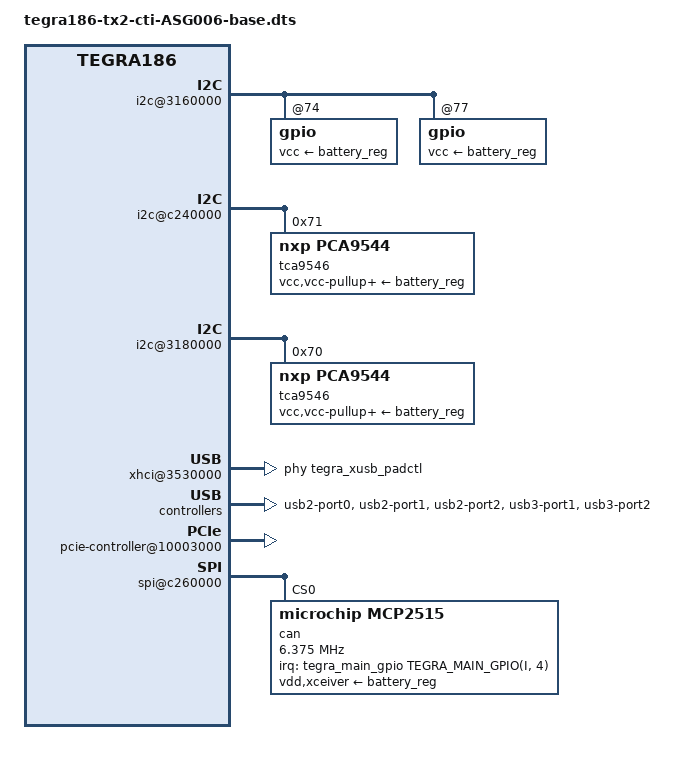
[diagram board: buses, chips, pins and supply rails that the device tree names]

/* Base DTS file common for all varioations of  spacely (no cameras) */

#include "tegra186-tx2-cti-base.dts"


/*************************************************************************

    DO NOT COPY THIS FILE TO ADD CAMERAS, INCLUDE IT IN THE NEW FILE!!!

*************************************************************************/
/{
    nvidia,dtsfilename = "tegra186-tx2-cti-ASG006-base.dts";
    nvidia,dtbbuildtime = __DATE__, __TIME__;

    gpio@2200000 {
    /*enable this to enabled PCIe Controller #2*/
        pcie0_lane2_mux {
             status = "okay";
        };
    /******************************************/
    /*enable these two to enable USB3 Port 0*/
        e3325_sdio_rst {
            status = "disabled";
        };
        e3325_lane0_mux {
            status = "disabled";
        };
    /******************************************/

    };

    i2c@3160000 {
        gpio@74{    //Camera GPIO
            status = "okay";
            vcc-supply = <&battery_reg>;

            /*PN - This is really bad practice to use gpio-hog to reserve the GPIOs
            The driver should really request them properly, maybe fix this in the 
            future*/

            camera-rst{ 
                gpio-hog;
                output-low;
                gpios = <1 0 3 0 5 0 7 0>;
                label = "cam_c_rst", "cam_d_rst", "cam_e_rst", "cam_f_rst";
        
            }; 
             
        };
        gpio@77{
            status = "okay";
            vcc-supply = <&battery_reg>; 
        };

    };

    //needed for the cameras setup before including any camera dtsi 
    i2c@c240000 {
        tca9546@71 {
            compatible = "nxp,pca9544";
            reg = <0x71>;
            #address-cells = <1>;
            vcc-supply = <&battery_reg>;
            vcc-pullup-supply = <&battery_reg>;
            #size-cells = <0>;
            vif-supply = <&battery_reg>;
            //skip_mux_detect = "yes";
            skip_mux_detect = "no";
            vcc_lp = "vif";
            force_bus_start = <0x22>;   //34

            i2c@0 {
                reg = <0>;
                i2c-mux,deselect-on-exit;
                #address-cells = <1>;
                #size-cells = <0>;
            };
            i2c@1 {
                reg = <1>;
                i2c-mux,deselect-on-exit;
                #address-cells = <1>;
                #size-cells = <0>;
            };
            i2c@2 {
                reg = <2>;
                i2c-mux,deselect-on-exit;
                #address-cells = <1>;
                #size-cells = <0>;
            };
        };
    };
    //needed for the cameras setup before including any camera dtsi 
    i2c@3180000 {

        //get rid of the mux in the defautl device tree to eliminate conflicts
        /delete-node/ i2cmux@70;

        tca9546@70 {
            compatible = "nxp,pca9544";
            reg = <0x70>;
            #address-cells = <1>;
            #size-cells = <0>;
            vcc-supply = <&battery_reg>;
            vcc-pullup-supply = <&battery_reg>;
            vif-supply = <&battery_reg>;
            //skip_mux_detect = "yes";
            skip_mux_detect = "no";
            vcc_lp = "vif";
            force_bus_start = <0x1E>;   //30

            i2c@0 {
                reg = <0>;
                i2c-mux,deselect-on-exit;
                #address-cells = <1>;
                #size-cells = <0>;
            };
            i2c@1 {
                reg = <1>;
                i2c-mux,deselect-on-exit;
                #address-cells = <1>;
                #size-cells = <0>;
            };
            i2c@2 {
                reg = <2>;
                i2c-mux,deselect-on-exit;
                #address-cells = <1>;
                #size-cells = <0>;
            };


        };
    };



    xhci@3530000 {
        status = "okay";
        phys = <&tegra_xusb_padctl TEGRA_PADCTL_PHY_UTMI_P(0)>,
            <&tegra_xusb_padctl TEGRA_PADCTL_PHY_UTMI_P(1)>,
            <&tegra_xusb_padctl TEGRA_PADCTL_PHY_UTMI_P(2)>,
            <&tegra_xusb_padctl TEGRA_PADCTL_PHY_USB3_P(1)>,
            <&tegra_xusb_padctl TEGRA_PADCTL_PHY_USB3_P(2)>;
        phy-names = "utmi-0", "utmi-1", "utmi-2", "usb3-1", "usb3-2";
    };

    pinctrl@3520000 {
        status = "okay";
        pinctrl-0 = <&tegra_xusb_padctl_pinmux_default>;
        pinctrl-names = "default";
        tegra_xusb_padctl_pinmux_default: pinmux {

            usb2-port0 {
                nvidia,lanes = "otg-0";
                nvidia,function = "xusb";
                nvidia,port-cap = <TEGRA_PADCTL_PORT_OTG_CAP>;
                nvidia,oc-pin = <0>;
                status = "okay";
            };
            usb2-port1 {
                nvidia,lanes = "otg-1";
                nvidia,function = "xusb";
                nvidia,port-cap = <TEGRA_PADCTL_PORT_HOST_ONLY>;
                nvidia,oc-pin = <1>;
                status = "okay";
            };
            usb2-port2 {
                nvidia,lanes = "otg-2";
                nvidia,function = "xusb";
                nvidia,port-cap = <TEGRA_PADCTL_PORT_HOST_ONLY>;
                status = "okay";
            };
            usb3-port0 {
                nvidia,lanes = "usb3-0";
                nvidia,port-cap = <TEGRA_PADCTL_PORT_HOST_ONLY>;
                status = "disabled";
            };
            usb3-port1 {
                nvidia,lanes = "usb3-1";
                nvidia,port-cap = <TEGRA_PADCTL_PORT_HOST_ONLY>;
                status = "okay";
            };
            usb3-port2 {
                nvidia,lanes = "usb3-2";
                nvidia,port-cap = <TEGRA_PADCTL_PORT_HOST_ONLY>;
                status = "okay";
            };
        };
    };
    

     pcie-controller@10003000 {
        status = "okay";
        pci@1,0 {
            nvidia,num-lanes = <1>;
            status = "okay";

        };
        pci@2,0 {
            nvidia,num-lanes = <0>;
            status = "disabled";
        };
        pci@3,0 {
            nvidia,num-lanes = <1>;
            status = "okay";
        };
    };



    spi@c260000 {
        status = "okay";
        /delete-node/ spi-touch-sharp19x12@0;  
        can@0 {
            status = "okay";
            compatible = "microchip,mcp2515";
            reg = <0>;
            clocks = <&can_clock>;
            interrupt-parent = <&tegra_main_gpio>;
                    /* the first cell defines the
                        index of the interrupt within the controller, while the second cell is used
                        to specify any of the following flags:
                        - bits[3:0] trigger type and level flags
                        1 = low-to-high edge triggered
                        2 = high-to-low edge triggered
                        4 = active high level-sensitive
                        8 = active low level-sensitive
                    */
            interrupts = <TEGRA_MAIN_GPIO(I, 4) 0x2>;
            vdd-supply = <&battery_reg>;
            xceiver-supply = <&battery_reg>;
            spi-max-frequency=<6375000>;
       };
    };

};
